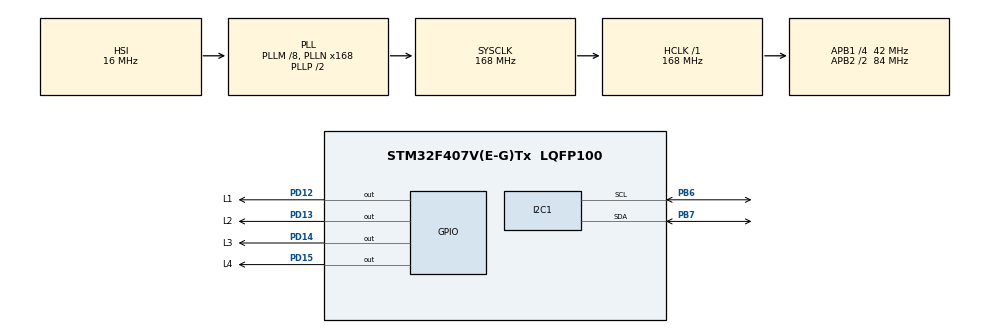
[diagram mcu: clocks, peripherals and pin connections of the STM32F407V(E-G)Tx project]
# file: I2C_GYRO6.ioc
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I2C1.I2C_Mode=I2C_Standard
Mcu.Family=STM32F4
Mcu.Name=STM32F407V(E-G)Tx
Mcu.Package=LQFP100
NVIC.PriorityGroup=NVIC_PRIORITYGROUP_4
PA13.Mode=Serial_Wire
PA13.Signal=SYS_JTMS-SWDIO
PA14.Mode=Serial_Wire
PA14.Signal=SYS_JTCK-SWCLK
PB6.Mode=I2C
PB6.Signal=I2C1_SCL
PB7.Mode=I2C
PB7.Signal=I2C1_SDA
PD12.GPIO_Label=L1
PD12.Signal=GPIO_Output
PD13.GPIO_Label=L2
PD13.Signal=GPIO_Output
PD14.GPIO_Label=L3
PD14.Signal=GPIO_Output
PD15.GPIO_Label=L4
PD15.Signal=GPIO_Output
ProjectManager.HeapSize=0x200
ProjectManager.StackSize=0x400
ProjectManager.TargetToolchain=MDK-ARM V5.27
RCC.48MHZClocksFreq_Value=84000000
RCC.AHBFreq_Value=168000000
RCC.APB1CLKDivider=RCC_HCLK_DIV4
RCC.APB1Freq_Value=42000000
RCC.APB1TimFreq_Value=84000000
RCC.APB2CLKDivider=RCC_HCLK_DIV2
RCC.APB2Freq_Value=84000000
RCC.APB2TimFreq_Value=168000000
RCC.CortexFreq_Value=168000000
RCC.HCLKFreq_Value=168000000
RCC.HSE_VALUE=8000000
RCC.HSI_VALUE=16000000
RCC.LSE_VALUE=32768
RCC.PLLM=8
RCC.PLLN=168
RCC.SYSCLKFreq_VALUE=168000000
RCC.SYSCLKSource=RCC_SYSCLKSOURCE_PLLCLK
RCC.VCOOutputFreq_Value=336000000
board=custom

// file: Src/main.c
/* USER CODE BEGIN Header */
/**
  ******************************************************************************
  * @file           : main.c
  * @brief          : Main program body
  ******************************************************************************
  * @attention
  *
  * <h2><center>&copy; Copyright (c) 2020 STMicroelectronics.
  * All rights reserved.</center></h2>
  *
  * This software component is licensed by ST under BSD 3-Clause license,
  * the "License"; You may not use this file except in compliance with the
  * License. You may obtain a copy of the License at:
  *                        opensource.org/licenses/BSD-3-Clause
  *
  ******************************************************************************
  */
/* USER CODE END Header */

#include "main.h"

/* USER CODE BEGIN Includes */
#include "TJ_MPU6050.h"
#define mpu6050Address 0x68
/* USER CODE END Includes */

I2C_HandleTypeDef hi2c1;

void SystemClock_Config(void);
static void MX_GPIO_Init(void);
static void MX_I2C1_Init(void);

/* USER CODE BEGIN 0 */
uint8_t i2cBuf[8];
uint8_t i2cBif[8];
int16_t ax,ay,az;
float Xaccel, Yaccel, Zaccel;
/* USER CODE END 0 */

int main(void)
{
  /* USER CODE BEGIN 1 */
MPU_ConfigTypeDef myMpuConfig;
  /* USER CODE END 1 */

  /* MCU Configuration--------------------------------------------------------*/

  /* Reset of all peripherals, Initializes the Flash interface and the Systick. */
  HAL_Init();

  /* Configure the system clock */
  SystemClock_Config();

  /* Initialize all configured peripherals */
  MX_GPIO_Init();
  MX_I2C1_Init();
  /* USER CODE BEGIN 2 */

//	//1. Scan the I2C addresses
//	/*for(uint8_t i=0; i<255; i++){
//		if(HAL_I2C_IsDeviceReady(&hi2c1, i, 1, 10) == HAL_OK){
//			HAL_GPIO_TogglePin(GPIOD, L1_Pin);
//			break;
//		}
//	}*/
	uint8_t mpuArss;
	mpuArss = (mpu6050Address<<1);
	//2. I2C write example
	//a) set accelerometer range (reg28)
	i2cBuf[0] = 28;			//register address: Accelerometer config 1
	i2cBuf[1] = 0x08;		//Data to write, +-4g range
	HAL_I2C_Master_Transmit(&hi2c1, mpuArss, i2cBuf, 2, 10);

	//3. I2C Read example
	//Request to read from a register (reg28)
	i2cBuf[0] = 28;			//register address: Accelerometer config 1
	HAL_I2C_Master_Transmit(&hi2c1, mpuArss,i2cBuf, 1, 10);

	//Read data
	i2cBuf[1] = 0x03;
	HAL_I2C_Master_Receive(&hi2c1, mpuArss|0x01, &i2cBuf[1], 1, 10);

//
//	I2C_Read(0x17, i2cBif, 1);
//1. Initialise the MPU6050 module and I2C
	MPU6050_Init(&hi2c1);
	//2. Configure Accel and Gyro parameters
	myMpuConfig.Accel_Full_Scale = AFS_SEL_4g;
	myMpuConfig.ClockSource = Internal_8MHz;
	myMpuConfig.CONFIG_DLPF = DLPF_184A_188G_Hz;
	myMpuConfig.Gyro_Full_Scale = FS_SEL_500;
	myMpuConfig.Sleep_Mode_Bit = 0;  //1: sleep mode, 0: normal mode
	MPU6050_Config(&myMpuConfig);
  /* USER CODE END 2 */

  /* Infinite loop */
  while (1)
  {

    /* USER CODE BEGIN 3 */
	/*	MPU6050_Get_Accel_Scale(&myAccelScaled);
		MPU6050_Get_Gyro_Scale(&myGyroScaled);

		HAL_GPIO_TogglePin(GPIOD, L2_Pin);
		HAL_Delay(10);*/
		//4. Read accelerometer daya
		//Request to read from a register
		i2cBuf[0] = 0x3B;			//Register address: X_axis H
		HAL_I2C_Master_Transmit(&hi2c1, mpuArss, i2cBuf, 1, 10);
		//Read data
		i2cBuf[1] = 0x06;
		HAL_I2C_Master_Receive(&hi2c1, mpuArss, &i2cBuf[1], 6, 10);

		ax = -(i2cBuf[1]<<8 | i2cBuf[2]);
		ay = -(i2cBuf[3]<<8 | i2cBuf[4]);
		az =  (i2cBuf[5]<<8 | i2cBuf[6]);

		Xaccel= ax/8192.0;
		Yaccel= ay/8192.0;
		Zaccel= az/8192.0;

  }
  /* USER CODE END 3 */
}

void SystemClock_Config(void)
{
  RCC_OscInitTypeDef RCC_OscInitStruct = {0};
  RCC_ClkInitTypeDef RCC_ClkInitStruct = {0};

  /** Configure the main internal regulator output voltage
  */
  __HAL_RCC_PWR_CLK_ENABLE();
  __HAL_PWR_VOLTAGESCALING_CONFIG(PWR_REGULATOR_VOLTAGE_SCALE1);
  /** Initializes the CPU, AHB and APB busses clocks
  */
  RCC_OscInitStruct.OscillatorType = RCC_OSCILLATORTYPE_HSI;
  RCC_OscInitStruct.HSIState = RCC_HSI_ON;
  RCC_OscInitStruct.HSICalibrationValue = RCC_HSICALIBRATION_DEFAULT;
  RCC_OscInitStruct.PLL.PLLState = RCC_PLL_ON;
  RCC_OscInitStruct.PLL.PLLSource = RCC_PLLSOURCE_HSI;
  RCC_OscInitStruct.PLL.PLLM = 8;
  RCC_OscInitStruct.PLL.PLLN = 168;
  RCC_OscInitStruct.PLL.PLLP = RCC_PLLP_DIV2;
  RCC_OscInitStruct.PLL.PLLQ = 4;
  if (HAL_RCC_OscConfig(&RCC_OscInitStruct) != HAL_OK)
  {
    Error_Handler();
  }
  /** Initializes the CPU, AHB and APB busses clocks
  */
  RCC_ClkInitStruct.ClockType = RCC_CLOCKTYPE_HCLK|RCC_CLOCKTYPE_SYSCLK
                              |RCC_CLOCKTYPE_PCLK1|RCC_CLOCKTYPE_PCLK2;
  RCC_ClkInitStruct.SYSCLKSource = RCC_SYSCLKSOURCE_PLLCLK;
  RCC_ClkInitStruct.AHBCLKDivider = RCC_SYSCLK_DIV1;
  RCC_ClkInitStruct.APB1CLKDivider = RCC_HCLK_DIV4;
  RCC_ClkInitStruct.APB2CLKDivider = RCC_HCLK_DIV2;

  if (HAL_RCC_ClockConfig(&RCC_ClkInitStruct, FLASH_LATENCY_5) != HAL_OK)
  {
    Error_Handler();
  }
}

static void MX_I2C1_Init(void)
{

  hi2c1.Instance = I2C1;
  hi2c1.Init.ClockSpeed = 100000;
  hi2c1.Init.DutyCycle = I2C_DUTYCYCLE_2;
  hi2c1.Init.OwnAddress1 = 0;
  hi2c1.Init.AddressingMode = I2C_ADDRESSINGMODE_7BIT;
  hi2c1.Init.DualAddressMode = I2C_DUALADDRESS_DISABLE;
  hi2c1.Init.OwnAddress2 = 0;
  hi2c1.Init.GeneralCallMode = I2C_GENERALCALL_DISABLE;
  hi2c1.Init.NoStretchMode = I2C_NOSTRETCH_DISABLE;
  if (HAL_I2C_Init(&hi2c1) != HAL_OK)
  {
    Error_Handler();
  }

}

static void MX_GPIO_Init(void)
{
  GPIO_InitTypeDef GPIO_InitStruct = {0};

  /* GPIO Ports Clock Enable */
  __HAL_RCC_GPIOD_CLK_ENABLE();
  __HAL_RCC_GPIOA_CLK_ENABLE();
  __HAL_RCC_GPIOB_CLK_ENABLE();

  /*Configure GPIO pin Output Level */
  HAL_GPIO_WritePin(GPIOD, L1_Pin|L2_Pin|L3_Pin|L4_Pin, GPIO_PIN_RESET);

  /*Configure GPIO pins : L1_Pin L2_Pin L3_Pin L4_Pin */
  GPIO_InitStruct.Pin = L1_Pin|L2_Pin|L3_Pin|L4_Pin;
  GPIO_InitStruct.Mode = GPIO_MODE_OUTPUT_PP;
  GPIO_InitStruct.Pull = GPIO_NOPULL;
  GPIO_InitStruct.Speed = GPIO_SPEED_FREQ_LOW;
  HAL_GPIO_Init(GPIOD, &GPIO_InitStruct);

}

void Error_Handler(void)
{
}

/************************ (C) COPYRIGHT STMicroelectronics *****END OF FILE****/
